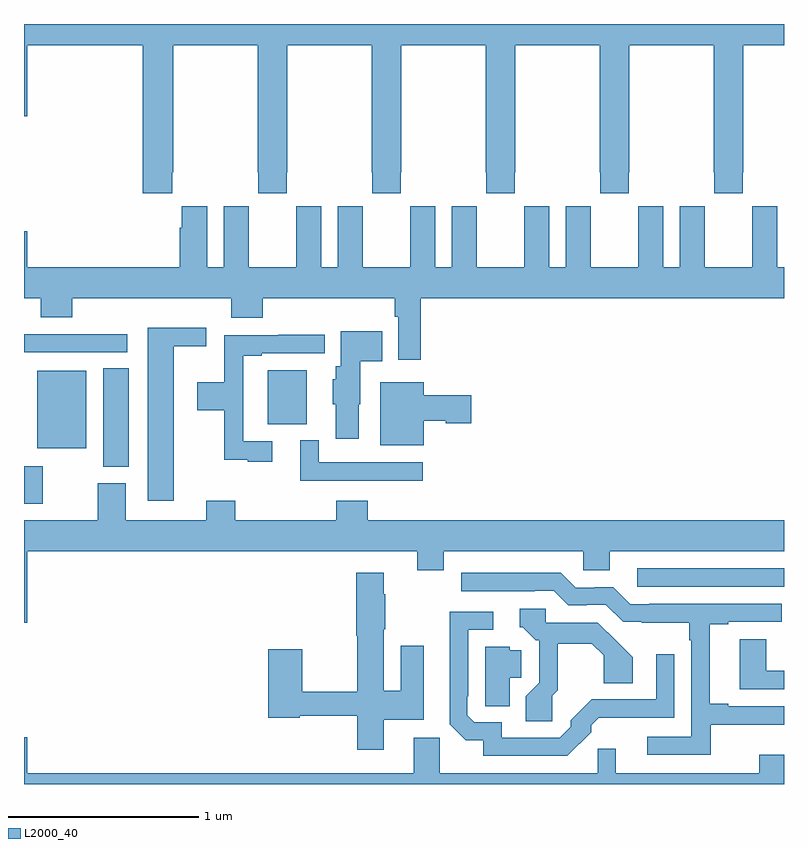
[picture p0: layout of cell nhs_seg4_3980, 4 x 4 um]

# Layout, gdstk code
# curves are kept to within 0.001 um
import gdstk
lib = gdstk.Library(unit=1e-6, precision=1e-09)
def R(c, l, rs):  # rectangles x0, y0, x1, y1
    for r in rs: c.add(gdstk.rectangle(r[:2], r[2:], *l))
def P(c, l, *ps):  # polygons
    for p in ps: c.add(gdstk.Polygon(p, *l))
L2000_40 = (2000, 40)

nhs_seg4_3980 = lib.new_cell('nhs_seg4_3980')
R(nhs_seg4_3980, L2000_40, [(324.228,825.939,325,826.035), (321,826.374,321.099,826.572), (321.416,826.571,321.55,827.087), (321.071,826.667,321.328,827.074), (322.283,826.793,322.489,827.077), (321,827.172,321.544,827.268)])
P(nhs_seg4_3980, L2000_40, [(321.779,828.121),(321.786,828.121),(321.786,828.788),(322.231,828.788),(322.231,828.121),(322.233,828.121),(322.233,828.009),(322.383,828.009),(322.383,828.121),(322.386,828.121),(322.386,828.788),(322.831,828.788),(322.831,828.121),(322.833,828.121),(322.833,828.009),(322.983,828.009),(322.983,828.121),(322.986,828.121),(322.986,828.788),(323.431,828.788),(323.431,828.121),(323.433,828.121),(323.433,828.009),(323.583,828.009),(323.583,828.121),(323.586,828.121),(323.586,828.788),(324.031,828.788),(324.031,828.121),(324.033,828.121),(324.033,828.009),(324.183,828.009),(324.183,828.121),(324.186,828.121),(324.186,828.788),(324.631,828.788),(324.631,828.121),(324.633,828.121),(324.633,828.009),(324.783,828.009),(324.783,828.121),(324.786,828.121),(324.786,828.788),(325,828.788),(325,828.9),(321,828.9),(321,828.414),(321.016,828.414),(321.016,828.788),(321.626,828.788),(321.626,828.009),(321.779,828.009)],
  [(321.016,827.809),(321,827.809),(321,827.456),(321.089,827.456),(321.089,827.357),(321.254,827.357),(321.254,827.456),(322.091,827.456),(322.091,827.354),(322.256,827.354),(322.256,827.456),(322.951,827.456),(322.951,827.36),(322.971,827.36),(322.971,827.133),(323.087,827.133),(323.087,827.456),(325,827.456),(325,827.62),(324.964,827.62),(324.964,827.941),(324.834,827.941),(324.834,827.828),(324.833,827.828),(324.833,827.62),(324.583,827.62),(324.583,827.828),(324.582,827.828),(324.582,827.941),(324.452,827.941),(324.452,827.62),(324.364,827.62),(324.364,827.941),(324.234,827.941),(324.234,827.828),(324.233,827.828),(324.233,827.62),(323.983,827.62),(323.983,827.828),(323.982,827.828),(323.982,827.941),(323.852,827.941),(323.852,827.62),(323.764,827.62),(323.764,827.941),(323.634,827.941),(323.634,827.828),(323.633,827.828),(323.633,827.62),(323.383,827.62),(323.383,827.828),(323.382,827.828),(323.382,827.941),(323.252,827.941),(323.252,827.62),(323.164,827.62),(323.164,827.941),(323.034,827.941),(323.034,827.828),(323.033,827.828),(323.033,827.62),(322.783,827.62),(322.783,827.828),(322.782,827.828),(322.782,827.941),(322.652,827.941),(322.652,827.62),(322.564,827.62),(322.564,827.941),(322.434,827.941),(322.434,827.828),(322.433,827.828),(322.433,827.62),(322.183,827.62),(322.183,827.828),(322.182,827.828),(322.182,827.941),(322.052,827.941),(322.052,827.62),(321.964,827.62),(321.964,827.941),(321.83,827.941),(321.83,827.828),(321.821,827.828),(321.821,827.62),(321.016,827.62)],
  [(321.787,827.204),(321.958,827.204),(321.958,827.302),(321.65,827.302),(321.65,826.392),(321.787,826.392)],
  [(322.762,826.899),(322.771,826.899),(322.771,827.126),(322.886,827.126),(322.886,827.284),(322.667,827.284),(322.667,827.1),(322.64,827.1),(322.64,827.031),(322.625,827.031),(322.625,826.899),(322.64,826.899),(322.64,826.716),(322.762,826.716)],
  [(322.306,826.704),(322.155,826.704),(322.155,827.154),(322.252,827.154),(322.252,827.166),(322.582,827.166),(322.582,827.264),(322.339,827.264),(322.339,827.262),(322.054,827.262),(322.054,827.014),(321.912,827.014),(321.912,826.867),(322.054,826.867),(322.054,826.607),(322.178,826.607),(322.178,826.596),(322.306,826.596)],
  [(323.104,826.811),(323.22,826.811),(323.22,826.799),(323.353,826.799),(323.353,826.946),(323.104,826.946),(323.104,827.014),(322.874,827.014),(322.874,826.682),(323.104,826.682)],
  [(323.098,826.593),(322.551,826.593),(322.551,826.708),(322.454,826.708),(322.454,826.497),(323.098,826.497)],
  [(321.016,826.124),(323.069,826.124),(323.069,826.025),(323.209,826.025),(323.209,826.124),(323.943,826.124),(323.943,826.026),(324.082,826.026),(324.082,826.124),(325,826.124),(325,826.288),(322.808,826.288),(322.808,826.39),(322.643,826.39),(322.643,826.288),(322.112,826.288),(322.112,826.39),(321.959,826.39),(321.959,826.288),(321.535,826.288),(321.535,826.483),(321.388,826.483),(321.388,826.288),(321,826.288),(321,825.75),(321.016,825.75)],
  [(324.614,825.212),(325,825.212),(325,825.309),(324.706,825.309),(324.706,825.322),(324.61,825.322),(324.61,825.741),(324.706,825.741),(324.706,825.753),(324.988,825.753),(324.988,825.849),(324.292,825.849),(324.292,825.846),(324.192,825.846),(324.102,825.936),(324.005,825.936),(324.005,825.933),(323.904,825.933),(323.825,826.012),(323.301,826.011),(323.301,825.915),(323.687,825.915),(323.687,825.918),(323.787,825.918),(323.865,825.84),(323.963,825.84),(323.963,825.843),(324.063,825.843),(324.153,825.753),(324.25,825.753),(324.25,825.75),(324.501,825.75),(324.501,825.656),(324.513,825.656),(324.513,825.15),(324.279,825.15),(324.279,825.054),(324.614,825.054)],
  [(322.894,825.239),(323.104,825.239),(323.104,825.628),(322.982,825.628),(322.982,825.392),(322.894,825.392),(322.894,825.715),(322.902,825.715),(322.902,825.899),(322.894,825.899),(322.894,826.012),(322.748,826.012),(322.748,825.681),(322.753,825.681),(322.753,825.386),(322.464,825.386),(322.464,825.61),(322.286,825.61),(322.286,825.25),(322.452,825.25),(322.452,825.258),(322.753,825.258),(322.753,825.081),(322.894,825.081)],
  [(323.781,825.365),(323.81,825.394),(323.81,825.639),(323.989,825.639),(324.051,825.578),(324.051,825.43),(324.205,825.43),(324.205,825.566),(324.019,825.75),(323.745,825.75),(323.745,825.822),(323.609,825.822),(323.609,825.726),(323.625,825.726),(323.694,825.657),(323.712,825.657),(323.712,825.432),(323.642,825.362),(323.642,825.231),(323.781,825.231)],
  [(323.986,825.173),(323.986,825.208),(324.026,825.248),(324.423,825.249),(324.423,825.583),(324.327,825.583),(324.327,825.345),(323.987,825.345),(323.877,825.235),(323.877,825.201),(323.82,825.144),(323.514,825.144),(323.514,825.225),(323.37,825.225),(323.334,825.261),(323.334,825.361),(323.337,825.361),(323.337,825.711),(323.47,825.711),(323.47,825.807),(323.24,825.807),(323.24,825.215),(323.326,825.129),(323.416,825.129),(323.416,825.048),(323.86,825.048)],
  [(325,825.495),(324.907,825.495),(324.907,825.661),(324.767,825.661),(324.767,825.399),(325,825.399)],
  [(323.557,825.458),(323.616,825.458),(323.616,825.603),(323.556,825.603),(323.556,825.622),(323.427,825.622),(323.427,825.31),(323.557,825.31)],
  [(325,825.055),(324.869,825.055),(324.869,824.956),(324.115,824.956),(324.115,825.086),(324.019,825.086),(324.019,824.956),(323.189,824.956),(323.189,825.144),(323.051,825.144),(323.051,824.956),(321.016,824.956),(321.016,825.145),(321,825.145),(321,824.9),(325,824.9)])

lib.write_gds('nhs_seg4_3980.gds')
